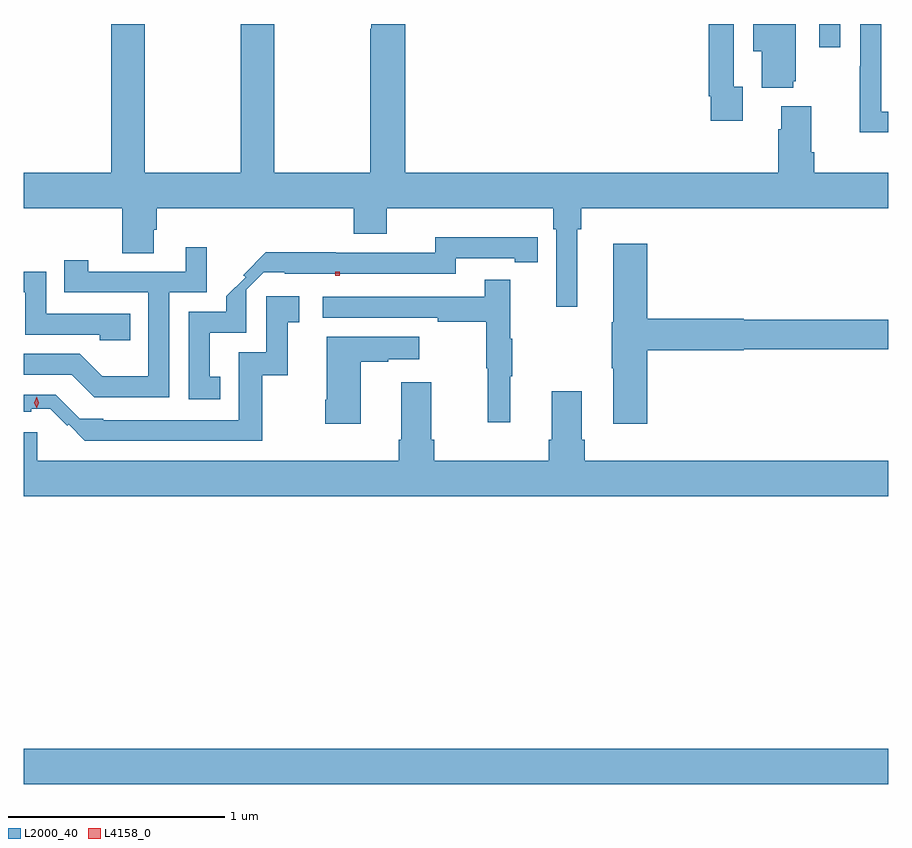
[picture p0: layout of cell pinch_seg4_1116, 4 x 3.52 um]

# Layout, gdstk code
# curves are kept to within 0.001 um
import gdstk
lib = gdstk.Library(unit=1e-6, precision=1e-09)
def R(c, l, rs):  # rectangles x0, y0, x1, y1
    for r in rs: c.add(gdstk.rectangle(r[:2], r[2:], *l))
def P(c, l, *ps):  # polygons
    for p in ps: c.add(gdstk.Polygon(p, *l))
L2000_40 = (2000, 40)
L4158_0 = (4158, 0)

pinch_seg4_1116 = lib.new_cell('pinch_seg4_1116')
R(pinch_seg4_1116, L2000_40, [(516.035,791.492,520.035,791.656), (519.717,794.901,519.813,795.009)])
P(pinch_seg4_1116, L2000_40, [(517.562,794.039),(517.714,794.039),(517.714,794.156),(518.486,794.156),(518.486,794.06),(518.499,794.06),(518.499,793.701),(518.596,793.701),(518.596,794.06),(518.615,794.06),(518.615,794.156),(520.035,794.156),(520.035,794.32),(519.692,794.32),(519.692,794.416),(519.679,794.416),(519.679,794.629),(519.539,794.629),(519.539,794.522),(519.527,794.522),(519.527,794.32),(517.799,794.32),(517.799,795.009),(517.643,795.009),(517.643,794.987),(517.639,794.987),(517.639,794.32),(517.194,794.32),(517.194,795.009),(517.039,795.009),(517.039,794.32),(516.594,794.32),(516.594,795.009),(516.439,795.009),(516.439,794.32),(516.035,794.32),(516.035,794.156),(516.49,794.156),(516.49,793.948),(516.637,793.948),(516.637,794.058),(516.65,794.058),(516.65,794.156),(517.562,794.156)],
  [(520.035,794.604),(520.002,794.604),(520.002,795.009),(519.906,795.009),(519.906,794.813),(519.904,794.813),(519.904,794.507),(520.035,794.507)],
  [(519.361,794.718),(519.321,794.718),(519.321,795.009),(519.205,795.009),(519.205,794.674),(519.213,794.674),(519.213,794.562),(519.361,794.562)],
  [(519.596,794.745),(519.607,794.745),(519.607,795.009),(519.41,795.009),(519.41,794.882),(519.449,794.882),(519.449,794.714),(519.596,794.714)],
  [(516.944,793.377),(516.895,793.377),(516.895,793.581),(517.065,793.581),(517.065,793.779),(517.146,793.86),(517.243,793.86),(517.243,793.854),(518.034,793.854),(518.034,793.926),(518.306,793.926),(518.306,793.906),(518.414,793.906),(518.414,794.022),(517.938,794.023),(517.938,793.95),(517.478,793.95),(517.478,793.952),(517.155,793.952),(517.051,793.847),(517.061,793.837),(516.972,793.748),(516.972,793.677),(516.798,793.677),(516.798,793.272),(516.944,793.272)],
  [(518.921,793.499),(519.366,793.499),(519.366,793.504),(520.035,793.504),(520.035,793.64),(519.366,793.64),(519.366,793.646),(518.921,793.646),(518.921,793.993),(518.762,793.993),(518.762,793.629),(518.755,793.629),(518.755,793.415),(518.762,793.415),(518.762,793.158),(518.921,793.158)],
  [(516.708,793.767),(516.882,793.767),(516.882,793.975),(516.785,793.975),(516.785,793.863),(516.334,793.863),(516.334,793.915),(516.223,793.915),(516.223,793.767),(516.612,793.767),(516.612,793.378),(516.398,793.378),(516.294,793.482),(516.035,793.482),(516.035,793.386),(516.257,793.386),(516.362,793.281),(516.708,793.281)],
  [(516.527,793.668),(516.138,793.668),(516.138,793.863),(516.035,793.863),(516.035,793.767),(516.042,793.767),(516.042,793.572),(516.387,793.572),(516.387,793.545),(516.527,793.545)],
  [(518.285,793.379),(518.296,793.379),(518.296,793.553),(518.285,793.553),(518.285,793.825),(518.167,793.825),(518.167,793.746),(517.419,793.746),(517.419,793.65),(517.951,793.65),(517.951,793.63),(518.175,793.63),(518.175,793.416),(518.182,793.416),(518.182,793.167),(518.285,793.167)],
  [(517.138,793.383),(517.256,793.383),(517.256,793.629),(517.309,793.629),(517.309,793.75),(517.158,793.75),(517.158,793.491),(517.029,793.491),(517.029,793.176),(516.403,793.176),(516.403,793.182),(516.294,793.182),(516.183,793.293),(516.035,793.293),(516.035,793.215),(516.069,793.215),(516.069,793.229),(516.157,793.229),(516.236,793.15),(516.242,793.156),(516.318,793.08),(517.138,793.08)],
  [(517.594,793.447),(517.721,793.447),(517.721,793.457),(517.864,793.457),(517.864,793.561),(517.436,793.561),(517.436,793.27),(517.429,793.27),(517.429,793.158),(517.594,793.158)],
  [(518.617,793.084),(518.617,793.309),(518.477,793.309),(518.477,793.084),(518.465,793.084),(518.465,792.988),(517.934,792.988),(517.934,793.084),(517.921,793.084),(517.921,793.351),(517.781,793.351),(517.781,793.084),(517.769,793.084),(517.769,792.988),(516.097,792.988),(516.097,793.12),(516.035,793.12),(516.035,792.824),(520.035,792.824),(520.035,792.988),(518.63,792.988),(518.63,793.084)])
R(pinch_seg4_1116, L4158_0, [(517.477,793.843,517.497,793.863)])
P(pinch_seg4_1116, L4158_0, [(516.094,793.23),(516.094,793.23),(516.084,793.257),(516.094,793.284),(516.094,793.285),(516.094,793.284),(516.104,793.257),(516.094,793.23)])

lib.write_gds('pinch_seg4_1116.gds')
